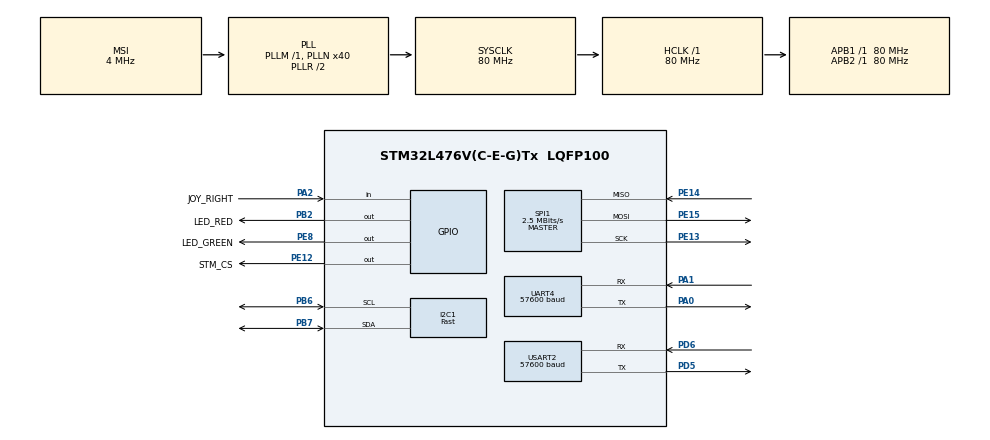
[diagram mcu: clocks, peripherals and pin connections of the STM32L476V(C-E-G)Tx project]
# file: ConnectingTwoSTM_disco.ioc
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Dma.I2C1_RX.2.Direction=DMA_PERIPH_TO_MEMORY
Dma.I2C1_RX.2.Instance=DMA1_Channel7
Dma.I2C1_RX.2.MemDataAlignment=DMA_MDATAALIGN_BYTE
Dma.I2C1_RX.2.MemInc=DMA_MINC_ENABLE
Dma.I2C1_RX.2.Mode=DMA_NORMAL
Dma.I2C1_RX.2.PeriphDataAlignment=DMA_PDATAALIGN_BYTE
Dma.I2C1_RX.2.PeriphInc=DMA_PINC_DISABLE
Dma.I2C1_RX.2.Priority=DMA_PRIORITY_LOW
Dma.Request0=USART2_RX
Dma.Request1=UART4_RX
Dma.Request2=I2C1_RX
Dma.UART4_RX.1.Direction=DMA_PERIPH_TO_MEMORY
Dma.UART4_RX.1.Instance=DMA2_Channel5
Dma.UART4_RX.1.MemDataAlignment=DMA_MDATAALIGN_BYTE
Dma.UART4_RX.1.MemInc=DMA_MINC_ENABLE
Dma.UART4_RX.1.Mode=DMA_NORMAL
Dma.UART4_RX.1.PeriphDataAlignment=DMA_PDATAALIGN_BYTE
Dma.UART4_RX.1.PeriphInc=DMA_PINC_DISABLE
Dma.UART4_RX.1.Priority=DMA_PRIORITY_LOW
Dma.USART2_RX.0.Direction=DMA_PERIPH_TO_MEMORY
Dma.USART2_RX.0.Instance=DMA1_Channel6
Dma.USART2_RX.0.MemDataAlignment=DMA_MDATAALIGN_BYTE
Dma.USART2_RX.0.MemInc=DMA_MINC_ENABLE
Dma.USART2_RX.0.Mode=DMA_NORMAL
Dma.USART2_RX.0.PeriphDataAlignment=DMA_PDATAALIGN_BYTE
Dma.USART2_RX.0.PeriphInc=DMA_PINC_DISABLE
Dma.USART2_RX.0.Priority=DMA_PRIORITY_LOW
FREERTOS.BinarySemaphores01=SemaphoreUART2,Dynamic,NULL;SemaphoreUART1,Dynamic,NULL
FREERTOS.Tasks01=HBTask,24,128,StartHearthBeatTask,Default,NULL,Dynamic,NULL,NULL;PrintToPCTask,24,1024,StartPrintToPCTask,Default,NULL,Dynamic,NULL,NULL;UARTNucleoTask,24,1024,StartUARTNucleo,Default,NULL,Dynamic,NULL,NULL;SPINucleoTask,8,1024,StartSPINucleo,Default,NULL,Dynamic,NULL,NULL
FREERTOS.configTOTAL_HEAP_SIZE=14000
I2C1.I2C_Speed_Mode=I2C_Fast
I2C1.Timing=0x00702991
Mcu.Family=STM32L4
Mcu.Name=STM32L476V(C-E-G)Tx
Mcu.Package=LQFP100
NVIC.DMA1_Channel6_IRQn=true\:5\:0\:false\:false\:true\:true\:false\:true\:true
NVIC.DMA1_Channel7_IRQn=true\:5\:0\:false\:false\:true\:true\:false\:true\:true
NVIC.DMA2_Channel5_IRQn=true\:5\:0\:false\:false\:true\:true\:false\:true\:true
NVIC.I2C1_EV_IRQn=true\:5\:0\:false\:false\:true\:true\:true\:true\:true
NVIC.PriorityGroup=NVIC_PRIORITYGROUP_4
NVIC.SPI1_IRQn=true\:5\:0\:false\:false\:true\:true\:true\:true\:true
NVIC.TIM7_IRQn=true\:15\:0\:false\:false\:true\:false\:false\:true\:true
NVIC.TimeBase=TIM7_IRQn
NVIC.TimeBaseIP=TIM7
NVIC.UART4_IRQn=true\:5\:0\:false\:false\:true\:true\:true\:true\:true
NVIC.USART2_IRQn=true\:5\:0\:false\:false\:true\:true\:true\:true\:true
PA0.Mode=Asynchronous
PA0.Signal=UART4_TX
PA1.Mode=Asynchronous
PA1.Signal=UART4_RX
PA2.GPIO_Label=JOY_RIGHT
PA2.Signal=GPIO_Input
PB2.GPIO_Label=LED_RED
PB2.Signal=GPIO_Output
PB6.Mode=I2C
PB6.Signal=I2C1_SCL
PB7.Mode=I2C
PB7.Signal=I2C1_SDA
PD5.Mode=Asynchronous
PD5.Signal=USART2_TX
PD6.Mode=Asynchronous
PD6.Signal=USART2_RX
PE12.GPIO_Label=STM_CS
PE12.Signal=GPIO_Output
PE13.Mode=Full_Duplex_Master
PE13.Signal=SPI1_SCK
PE14.Mode=Full_Duplex_Master
PE14.Signal=SPI1_MISO
PE15.Mode=Full_Duplex_Master
PE15.Signal=SPI1_MOSI
PE8.GPIO_Label=LED_GREEN
PE8.Signal=GPIO_Output
ProjectManager.HeapSize=0x200
ProjectManager.StackSize=0x400
ProjectManager.TargetToolchain=STM32CubeIDE
RCC.AHBFreq_Value=80000000
RCC.APB1Freq_Value=80000000
RCC.APB1TimFreq_Value=80000000
RCC.APB2Freq_Value=80000000
RCC.APB2TimFreq_Value=80000000
RCC.CortexFreq_Value=80000000
RCC.HCLKFreq_Value=80000000
RCC.HSE_VALUE=8000000
RCC.HSI_VALUE=16000000
RCC.LSE_VALUE=32768
RCC.MSI_VALUE=4000000
RCC.PLLN=40
RCC.SYSCLKFreq_VALUE=80000000
RCC.SYSCLKSource=RCC_SYSCLKSOURCE_PLLCLK
RCC.VCOOutputFreq_Value=160000000
SPI1.BaudRatePrescaler=SPI_BAUDRATEPRESCALER_32
SPI1.CalculateBaudRate=2.5 MBits/s
SPI1.DataSize=SPI_DATASIZE_8BIT
SPI1.Direction=SPI_DIRECTION_2LINES
SPI1.Mode=SPI_MODE_MASTER
SPI1.VirtualType=VM_MASTER
UART4.BaudRate=57600
USART2.BaudRate=57600
USART2.VirtualMode-Asynchronous=VM_ASYNC
VP_FREERTOS_VS_CMSIS_V2.Mode=CMSIS_V2
VP_SYS_VS_tim7.Mode=TIM7
board=custom

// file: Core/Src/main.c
/* USER CODE BEGIN Header */
/**
  ******************************************************************************
  * @file           : main.c
  * @brief          : Main program body
  ******************************************************************************
  * @attention
  *
  * Copyright (c) 2022 STMicroelectronics.
  * All rights reserved.
  *
  * This software is licensed under terms that can be found in the LICENSE file
  * in the root directory of this software component.
  * If no LICENSE file comes with this software, it is provided AS-IS.
  *
  ******************************************************************************
  */
/* USER CODE END Header */
#include "main.h"
#include "cmsis_os.h"
#include "dma.h"
#include "i2c.h"
#include "spi.h"
#include "usart.h"
#include "gpio.h"

void SystemClock_Config(void);
void MX_FREERTOS_Init(void);

int main(void)
{

  /* MCU Configuration--------------------------------------------------------*/

  /* Reset of all peripherals, Initializes the Flash interface and the Systick. */
  HAL_Init();

  /* Configure the system clock */
  SystemClock_Config();

  /* USER CODE BEGIN SysInit */
  MX_DMA_Init();
  /* USER CODE END SysInit */

  /* Initialize all configured peripherals */
  MX_GPIO_Init();
  MX_DMA_Init();
  MX_USART2_UART_Init();
  MX_UART4_Init();
  MX_I2C1_Init();
  MX_SPI1_Init();

  /* Init scheduler */
  osKernelInitialize();  /* Call init function for freertos objects (in freertos.c) */
  MX_FREERTOS_Init();

  /* Start scheduler */
  osKernelStart();

  /* We should never get here as control is now taken by the scheduler */
  /* Infinite loop */
  while (1)
  {

  }
}

void SystemClock_Config(void)
{
  RCC_OscInitTypeDef RCC_OscInitStruct = {0};
  RCC_ClkInitTypeDef RCC_ClkInitStruct = {0};

  /** Configure the main internal regulator output voltage
  */
  if (HAL_PWREx_ControlVoltageScaling(PWR_REGULATOR_VOLTAGE_SCALE1) != HAL_OK)
  {
    Error_Handler();
  }

  /** Initializes the RCC Oscillators according to the specified parameters
  * in the RCC_OscInitTypeDef structure.
  */
  RCC_OscInitStruct.OscillatorType = RCC_OSCILLATORTYPE_MSI;
  RCC_OscInitStruct.MSIState = RCC_MSI_ON;
  RCC_OscInitStruct.MSICalibrationValue = 0;
  RCC_OscInitStruct.MSIClockRange = RCC_MSIRANGE_6;
  RCC_OscInitStruct.PLL.PLLState = RCC_PLL_ON;
  RCC_OscInitStruct.PLL.PLLSource = RCC_PLLSOURCE_MSI;
  RCC_OscInitStruct.PLL.PLLM = 1;
  RCC_OscInitStruct.PLL.PLLN = 40;
  RCC_OscInitStruct.PLL.PLLP = RCC_PLLP_DIV7;
  RCC_OscInitStruct.PLL.PLLQ = RCC_PLLQ_DIV2;
  RCC_OscInitStruct.PLL.PLLR = RCC_PLLR_DIV2;
  if (HAL_RCC_OscConfig(&RCC_OscInitStruct) != HAL_OK)
  {
    Error_Handler();
  }

  /** Initializes the CPU, AHB and APB buses clocks
  */
  RCC_ClkInitStruct.ClockType = RCC_CLOCKTYPE_HCLK|RCC_CLOCKTYPE_SYSCLK
                              |RCC_CLOCKTYPE_PCLK1|RCC_CLOCKTYPE_PCLK2;
  RCC_ClkInitStruct.SYSCLKSource = RCC_SYSCLKSOURCE_PLLCLK;
  RCC_ClkInitStruct.AHBCLKDivider = RCC_SYSCLK_DIV1;
  RCC_ClkInitStruct.APB1CLKDivider = RCC_HCLK_DIV1;
  RCC_ClkInitStruct.APB2CLKDivider = RCC_HCLK_DIV1;

  if (HAL_RCC_ClockConfig(&RCC_ClkInitStruct, FLASH_LATENCY_4) != HAL_OK)
  {
    Error_Handler();
  }
}

void HAL_TIM_PeriodElapsedCallback(TIM_HandleTypeDef *htim)
{
  if (htim->Instance == TIM7) {
    HAL_IncTick();
  }
}

void Error_Handler(void)
{
  __disable_irq();
  while (1)
  {
  }
}

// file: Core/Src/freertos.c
/* USER CODE BEGIN Header */
/**
 ******************************************************************************
 * File Name          : freertos.c
 * Description        : Code for freertos applications
 ******************************************************************************
 * @attention
 *
 * Copyright (c) 2022 STMicroelectronics.
 * All rights reserved.
 *
 * This software is licensed under terms that can be found in the LICENSE file
 * in the root directory of this software component.
 * If no LICENSE file comes with this software, it is provided AS-IS.
 *
 ******************************************************************************
 */
/* USER CODE END Header */

#include "FreeRTOS.h"
#include "task.h"
#include "main.h"
#include "cmsis_os.h"

/* USER CODE BEGIN Includes */
#include "usart.h"
#include "printf.h"
#include <stdio.h>
#include "dma.h"
#include "semphr.h"
#include <string.h>
#include "RingBuffer.h"
/* USER CODE END Includes */

/* USER CODE BEGIN PD */
#define SIZE_TXBUF_UART1 4
#define SIZE_SAMPLE_UART1 4

#define SIZE_TXBUF_UART2 4
#define SIZE_SAMPLE_UART2 4

#define SIZE_SAMPLE_SPI3 4

/* USER CODE END PD */

/* USER CODE BEGIN Variables */
static uint8_t Buff_TxUart1[SIZE_TXBUF_UART1];
static uint8_t Buff_TxUart2[SIZE_TXBUF_UART2];
static uint8_t Buff_TxSPI[SIZE_TXBUF_UART2];

static uint8_t firstRunUart1 = 1;
static uint8_t firstRunUart2 = 0;

static uint8_t tempUART1[SIZE_SAMPLE_UART1];
static uint8_t tempUART2[SIZE_SAMPLE_UART2];
static uint8_t tempSPI3[SIZE_SAMPLE_SPI3];

static RingBuffer_t Buff_RxUart1;
static RingBuffer_t Buff_RxUart2;
static RingBuffer_t Buff_RxSPI;

/* USER CODE END Variables */
/* Definitions for HBTask */
osThreadId_t HBTaskHandle;
const osThreadAttr_t HBTask_attributes = {
  .name = "HBTask",
  .stack_size = 128 * 4,
  .priority = (osPriority_t) osPriorityNormal,
};
/* Definitions for PrintToPCTask */
osThreadId_t PrintToPCTaskHandle;
const osThreadAttr_t PrintToPCTask_attributes = {
  .name = "PrintToPCTask",
  .stack_size = 1024 * 4,
  .priority = (osPriority_t) osPriorityNormal,
};
/* Definitions for UARTNucleoTask */
osThreadId_t UARTNucleoTaskHandle;
const osThreadAttr_t UARTNucleoTask_attributes = {
  .name = "UARTNucleoTask",
  .stack_size = 1024 * 4,
  .priority = (osPriority_t) osPriorityNormal,
};
/* Definitions for SPINucleoTask */
osThreadId_t SPINucleoTaskHandle;
const osThreadAttr_t SPINucleoTask_attributes = {
  .name = "SPINucleoTask",
  .stack_size = 1024 * 4,
  .priority = (osPriority_t) osPriorityLow,
};
/* Definitions for SemaphoreUART2 */
osSemaphoreId_t SemaphoreUART2Handle;
const osSemaphoreAttr_t SemaphoreUART2_attributes = {
  .name = "SemaphoreUART2"
};
/* Definitions for SemaphoreUART1 */
osSemaphoreId_t SemaphoreUART1Handle;
const osSemaphoreAttr_t SemaphoreUART1_attributes = {
  .name = "SemaphoreUART1"
};

void StartHearthBeatTask(void *argument);
void StartPrintToPCTask(void *argument);
void StartUARTNucleo(void *argument);
void StartSPINucleo(void *argument);

void MX_FREERTOS_Init(void); /* (MISRA C 2004 rule 8.1) */

void MX_FREERTOS_Init(void) {

  /* Create the semaphores(s) */
  /* creation of SemaphoreUART2 */
  SemaphoreUART2Handle = osSemaphoreNew(1, 1, &SemaphoreUART2_attributes);

  /* creation of SemaphoreUART1 */
  SemaphoreUART1Handle = osSemaphoreNew(1, 1, &SemaphoreUART1_attributes);

  /* Create the thread(s) */
  /* creation of HBTask */
  HBTaskHandle = osThreadNew(StartHearthBeatTask, NULL, &HBTask_attributes);

  /* creation of PrintToPCTask */
  PrintToPCTaskHandle = osThreadNew(StartPrintToPCTask, NULL, &PrintToPCTask_attributes);

  /* creation of UARTNucleoTask */
  UARTNucleoTaskHandle = osThreadNew(StartUARTNucleo, NULL, &UARTNucleoTask_attributes);

  /* creation of SPINucleoTask */
  SPINucleoTaskHandle = osThreadNew(StartSPINucleo, NULL, &SPINucleoTask_attributes);

}

void StartHearthBeatTask(void *argument)
{
  /* USER CODE BEGIN StartHearthBeatTask */

	/* Infinite loop */
	for(;;)
	{
		HAL_GPIO_TogglePin(LED_GREEN_GPIO_Port, LED_GREEN_Pin);
		osDelay(200);
	}
  /* USER CODE END StartHearthBeatTask */
}

void StartPrintToPCTask(void *argument)
{
  /* USER CODE BEGIN StartPrintToPCTask */
	HAL_UART_Receive_DMA(&huart2,
			tempUART2, SIZE_SAMPLE_UART2);
	uint8_t errorerUart2;
	printf("Hello PC, it's Discovery board here!!\n\r");
	xSemaphoreTake(SemaphoreUART2Handle, portMAX_DELAY);

	/* Infinite loop */
	for(;;)
	{
		xSemaphoreTake(SemaphoreUART2Handle, portMAX_DELAY);
		errorerUart2 = RingBuffReadSome(&Buff_RxUart2, Buff_TxUart2, SIZE_TXBUF_UART2);
		if(errorerUart2 != 0)
			HAL_GPIO_TogglePin(LED_RED_GPIO_Port, LED_RED_Pin);

		printf("Echo: %c%c%c%c\n\r", Buff_TxUart2[0],
				Buff_TxUart2[1],
				Buff_TxUart2[2],
				Buff_TxUart2[3]);
	}
  /* USER CODE END StartPrintToPCTask */
}

void StartUARTNucleo(void *argument)
{
  /* USER CODE BEGIN StartUARTNucleo */
	HAL_UART_Receive_DMA(&huart4,
				tempUART1, SIZE_SAMPLE_UART1);
	uint8_t errorerUart1;
	printf("Hello PC, it's nucleo UART task!!\n\r");
	xSemaphoreTake(SemaphoreUART1Handle, portMAX_DELAY);

	/* Infinite loop */
	for(;;)
	{
		xSemaphoreTake(SemaphoreUART1Handle, portMAX_DELAY);
		errorerUart1 = RingBuffReadSome(&Buff_RxUart1, Buff_TxUart1, SIZE_TXBUF_UART1);
		if(errorerUart1 != 0)
			HAL_GPIO_TogglePin(LED_RED_GPIO_Port, LED_RED_Pin);
		printf("UART: %c%c%c%c\n\r", Buff_TxUart1[0],
				Buff_TxUart1[1],
				Buff_TxUart1[2],
				Buff_TxUart1[3]);
	}
  /* USER CODE END StartUARTNucleo */
}

void StartSPINucleo(void *argument)
{
  /* USER CODE BEGIN StartSPINucleo */
	HAL_UART_Receive_DMA(&huart4,
					tempUART1, SIZE_SAMPLE_UART1);
	uint8_t errorerUart1;
	printf("Hello PC, it's nucleo UART task!!\n\r");
	xSemaphoreTake(SemaphoreUART1Handle, portMAX_DELAY);

	/* Infinite loop */
	for(;;)
	{
		xSemaphoreTake(SemaphoreUART1Handle, portMAX_DELAY);
		errorerUart1 = RingBuffReadSome(&Buff_RxUart1, Buff_TxUart1, SIZE_TXBUF_UART1);
		if(errorerUart1 != 0)
			HAL_GPIO_TogglePin(LED_RED_GPIO_Port, LED_RED_Pin);
		printf("SPI: %c%c%c%c\n\r", Buff_TxUart1[0],
				Buff_TxUart1[1],
				Buff_TxUart1[2],
				Buff_TxUart1[3]);
	}
  /* USER CODE END StartSPINucleo */
}

/* USER CODE BEGIN Application */
void _putchar(char character)
{
	HAL_UART_Transmit(&huart2, (uint8_t *) &character, 1, 1000);

	// send char to console etc.
}

void HAL_UART_RxCpltCallback(UART_HandleTypeDef *huart)
{
	uint8_t errorInISR;
	/************************************************************************************/
	if(huart == &huart4)
	{
		HAL_UART_Receive_DMA(&huart4, tempUART1, SIZE_SAMPLE_UART1);

		errorInISR = RingBuffWrite(&Buff_RxUart1, tempUART1, SIZE_SAMPLE_UART1);
		HAL_GPIO_TogglePin(LED_RED_GPIO_Port, LED_RED_Pin);
		//if(errorInISR != 0)
			//HAL_GPIO_TogglePin(LED_RED_GPIO_Port, LED_RED_Pin);
		xSemaphoreGiveFromISR(SemaphoreUART1Handle, pdTRUE);
	}
	/**************************************************************************************/
	if(huart == &huart2)
		{
			HAL_UART_Receive_DMA(&huart2, tempUART2, SIZE_SAMPLE_UART2);
			errorInISR = RingBuffWrite(&Buff_RxUart2, tempUART2, SIZE_SAMPLE_UART2);
			if(errorInISR != 0)
				HAL_GPIO_TogglePin(LED_RED_GPIO_Port, LED_RED_Pin);
			xSemaphoreGiveFromISR(SemaphoreUART2Handle, pdTRUE);

		}
	/**************************************************************************************/
}
/* USER CODE END Application */
